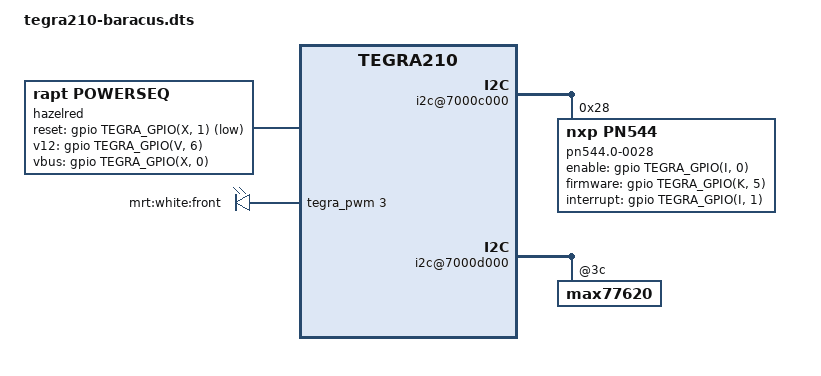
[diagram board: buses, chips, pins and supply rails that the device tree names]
/*
 * arch/arm64/boot/dts/tegra210-jetson-cv-p2597-2180-a00.dts
 *
 * Copyright (c) 2024 The LineageOS Project
 *
 * This program is free software; you can redistribute it and/or modify
 * it under the terms of the GNU General Public License as published by
 * the Free Software Foundation; version 2 of the License.
 *
 * This program is distributed in the hope that it will be useful, but WITHOUT
 * ANY WARRANTY; without even the implied warranty of MERCHANTABILITY or
 * FITNESS FOR A PARTICULAR PURPOSE.  See the GNU General Public License for
 * more details.
 *
 */

#include "tegra210-jetson-tx1-p2597-2180-a01-android-devkit.dts"

/ {
	nvidia,dtsfilename = __FILE__;

	chosen {
		bootargs = "earlycon=uart8250,mmio32,0x70006000 androidboot.boot_devices=sdhci-tegra.3 nvdec_enabled=0";
		fastboot-instructions = "Press power to select, volume up/down for selection move\n";
		no-tnid-sn;
		nvidia,fastboot_without_usb;
	};

	firmware {
		android {
			hardware = "baracus";
		};
	};

	host1x@50000000 {
		dc@54200000 {
			status = "okay";
			nvidia,dc-or-node = "/host1x/sor1";
			nvidia,dc-connector = <&sor1>;
			win-mask = <0xf>;
			avdd_hdmi-supply = <&max77620_ldo8>;
			avdd_hdmi_pll-supply = <&max77620_sd3>;
			vdd_hdmi_5v0-supply = <&vdd_hdmi>;
		};

		dc@54240000 {
			status = "disabled";
		};

		sor1 {
			hdmi-display {
				disp-default-out {
					nvidia,out-hdcp-policy = <TEGRA_DC_HDCP_POLICY_ALWAYS_OFF>;
				};
			};
		};
	};

	hazelred {
		compatible = "rapt,powerseq";
		reset-gpios = <&gpio TEGRA_GPIO(X, 1) GPIO_ACTIVE_LOW>;
		status = "okay";
		v12-gpios = <&gpio TEGRA_GPIO(V, 6) GPIO_ACTIVE_HIGH>;
		vbus-gpios = <&gpio TEGRA_GPIO(X, 0) GPIO_ACTIVE_HIGH>;
	};

	i2c@7000c000 {
		pn544.0-0028@28 {
			reg = <0x28>;
			compatible = "nxp,pn544";
			enable-gpios = <&gpio TEGRA_GPIO(I, 0) GPIO_ACTIVE_HIGH>;
			firmware-gpios = <&gpio TEGRA_GPIO(K, 5) GPIO_ACTIVE_HIGH>;
			interrupt-gpios = <&gpio TEGRA_GPIO(I, 1) GPIO_ACTIVE_HIGH>;
		};
	};

	i2c@7000d000 {
		max77620@3c {
			regulators {
				ldo8 {
					regulator-always-on;
				};
			};
		};
	};

	pinctrl@7009f000 {
		pinmux {
			usb2-touch {
				nvidia,lanes = "otg-3";
				nvidia,function = "xusb";
				nvidia,port-cap =
					<TEGRA_PADCTL_PORT_HOST_ONLY>;
				nvidia,usb3-port-fake = <2>;
			};
		};
	};

	pmc@7000e400 {
		/delete-property/ nvidia,secure-pmc;
	};

	pwm-leds {
		compatible = "pwm-leds";
		status = "okay";

		front-led {
			label = "mrt:white:front";
			max-brightness = <255>;
			pwms = <&tegra_pwm 3 1000000>;
		};
	};

	regulators {
		regulator@7 {
			regulator-always-on;
			regulator-boot-on;
			/delete-property/ gpio;
			/delete-property/ enable-active-high;
		};
	};

	spi@7000da00 {
		status = "disabled";
	};

	xusb@70090000 {
		phys = <&{/xusb_padctl@7009f000/pads/usb2/lanes/usb2-0}>,
		       <&{/xusb_padctl@7009f000/pads/usb2/lanes/usb2-1}>,
		       <&{/xusb_padctl@7009f000/pads/usb2/lanes/usb2-2}>,
		       <&{/xusb_padctl@7009f000/pads/usb2/lanes/usb2-3}>,
		       <&{/xusb_padctl@7009f000/pads/pcie/lanes/pcie-6}>,
		       <&{/xusb_padctl@7009f000/pads/pcie/lanes/pcie-5}>;
		phy-names = "usb2-0", "usb2-1", "usb2-2", "usb2-3", "usb3-0", "usb3-1";
	};
};
